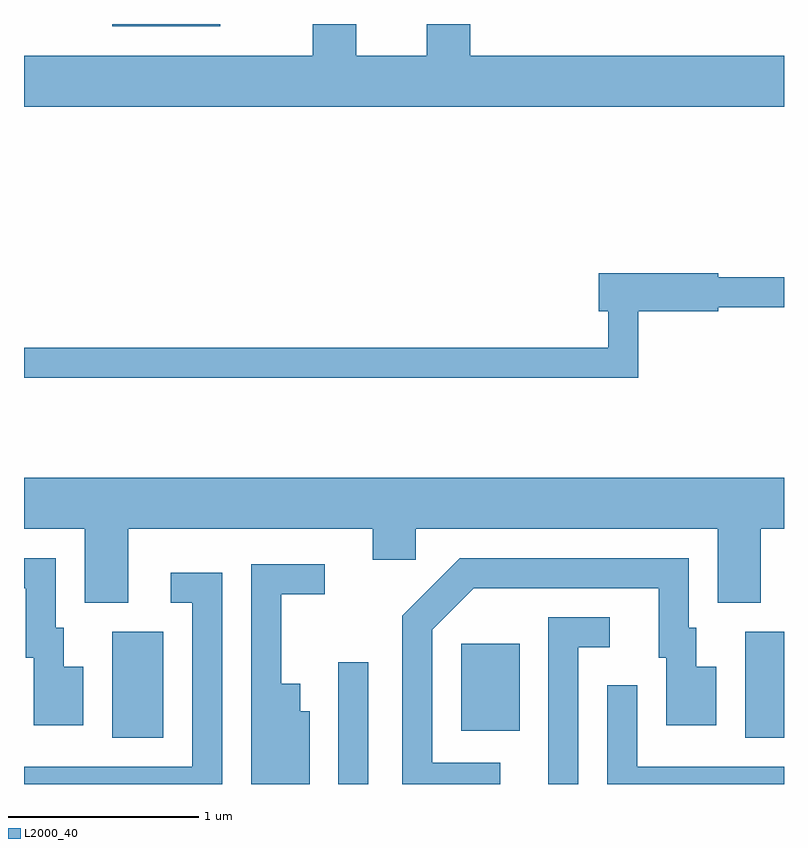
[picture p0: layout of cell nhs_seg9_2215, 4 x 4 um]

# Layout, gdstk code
import gdstk
lib = gdstk.Library(unit=1e-6, precision=1e-09)
def R(c, l, rs):  # rectangles x0, y0, x1, y1
    for r in rs: c.add(gdstk.rectangle(r[:2], r[2:], *l))
def P(c, l, *ps):  # polygons
    for p in ps: c.add(gdstk.Polygon(p, *l))
L2000_40 = (2000, 40)

nhs_seg9_2215 = lib.new_cell('nhs_seg9_2215')
R(nhs_seg9_2215, L2000_40, [(251.266,2030.432,251.424,2031.073), (250.076,2030.676,250.344,2031.234), (253.406,2030.676,253.611,2031.234), (251.911,2030.711,252.219,2031.169), (250.076,2034.421,250.644,2034.432)])
P(nhs_seg9_2215, L2000_40, [(253.611,2034.264),(251.959,2034.264),(251.959,2034.432),(251.731,2034.432),(251.731,2034.264),(251.359,2034.264),(251.359,2034.432),(251.131,2034.432),(251.131,2034.264),(249.611,2034.264),(249.611,2033.996),(253.611,2033.996)],
  [(252.844,2032.921),(253.264,2032.921),(253.264,2032.941),(253.611,2032.941),(253.611,2033.099),(253.264,2033.099),(253.264,2033.119),(252.636,2033.119),(252.636,2032.921),(252.686,2032.921),(252.686,2032.729),(249.611,2032.729),(249.611,2032.571),(252.844,2032.571)],
  [(250.159,2031.776),(251.446,2031.776),(251.446,2031.611),(251.674,2031.611),(251.674,2031.776),(253.261,2031.776),(253.261,2031.386),(253.489,2031.386),(253.489,2031.776),(253.611,2031.776),(253.611,2032.044),(249.611,2032.044),(249.611,2031.776),(249.931,2031.776),(249.931,2031.386),(250.159,2031.386)],
  [(249.924,2031.049),(249.819,2031.049),(249.819,2031.254),(249.779,2031.254),(249.779,2031.619),(249.611,2031.619),(249.611,2031.461),(249.621,2031.461),(249.621,2031.096),(249.661,2031.096),(249.661,2030.741),(249.924,2030.741)],
  [(252.118,2030.544),(251.759,2030.544),(251.759,2031.244),(251.977,2031.461),(252.951,2031.461),(252.951,2031.096),(252.991,2031.096),(252.991,2030.741),(253.254,2030.741),(253.254,2031.049),(253.149,2031.049),(253.149,2031.254),(253.109,2031.254),(253.109,2031.619),(251.904,2031.619),(251.601,2031.317),(251.601,2030.432),(252.118,2030.432)],
  [(251.114,2030.814),(251.064,2030.814),(251.064,2030.959),(250.964,2030.959),(250.964,2031.431),(251.193,2031.431),(251.193,2031.589),(250.806,2031.589),(250.806,2030.432),(251.114,2030.432)],
  [(250.654,2031.544),(250.383,2031.544),(250.383,2031.386),(250.496,2031.386),(250.496,2030.524),(249.611,2030.524),(249.611,2030.432),(250.654,2030.432)],
  [(252.529,2031.151),(252.693,2031.151),(252.693,2031.309),(252.371,2031.309),(252.371,2030.432),(252.529,2030.432)],
  [(253.611,2030.524),(252.839,2030.524),(252.839,2030.953),(252.681,2030.953),(252.681,2030.432),(253.611,2030.432)])

lib.write_gds('nhs_seg9_2215.gds')
